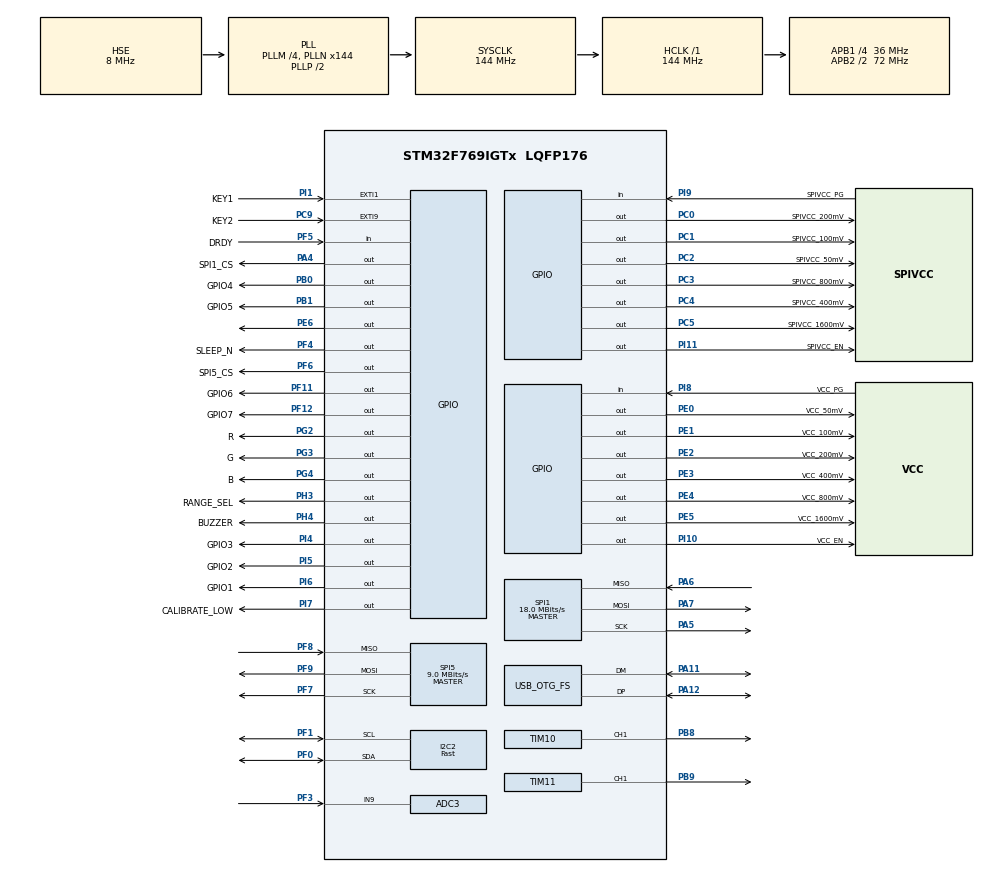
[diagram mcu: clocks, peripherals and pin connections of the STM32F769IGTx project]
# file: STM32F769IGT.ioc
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ADC3.Channel-0\#ChannelRegularConversion=ADC_CHANNEL_9
ADC3.ClockPrescaler=ADC_CLOCK_SYNC_PCLK_DIV2
ADC3.ContinuousConvMode=DISABLE
ADC3.DMAContinuousRequests=DISABLE
ADC3.DataAlign=ADC_DATAALIGN_RIGHT
ADC3.DiscontinuousConvMode=DISABLE
ADC3.EOCSelection=ADC_EOC_SINGLE_CONV
ADC3.EnableAnalogWatchDog=false
ADC3.ExternalTrigConv=ADC_SOFTWARE_START
ADC3.ExternalTrigConvEdge=ADC_EXTERNALTRIGCONVEDGE_NONE
ADC3.InjNumberOfConversion=0
ADC3.NbrOfConversion=1
ADC3.NbrOfConversionFlag=1
ADC3.Rank-0\#ChannelRegularConversion=1
ADC3.Resolution=ADC_RESOLUTION_12B
ADC3.SamplingTime-0\#ChannelRegularConversion=ADC_SAMPLETIME_3CYCLES
ADC3.ScanConvMode=DISABLE
I2C2.I2C_Speed_Mode=I2C_Fast
I2C2.Timing=0x00301739
Mcu.Family=STM32F7
Mcu.Name=STM32F769IGTx
Mcu.Package=LQFP176
NVIC.EXTI1_IRQn=true\:5\:0\:true\:false\:true\:true
NVIC.EXTI9_5_IRQn=true\:0\:0\:false\:false\:true\:true
NVIC.OTG_FS_IRQn=true\:0\:0\:false\:false\:true\:false
NVIC.PriorityGroup=NVIC_PRIORITYGROUP_4
PA11.Mode=Device_Only
PA11.Signal=USB_OTG_FS_DM
PA12.Mode=Device_Only
PA12.Signal=USB_OTG_FS_DP
PA13.Mode=Serial_Wire
PA13.Signal=SYS_JTMS-SWDIO
PA14.Mode=Serial_Wire
PA14.Signal=SYS_JTCK-SWCLK
PA4.GPIO_Label=SPI1_CS
PA4.GPIO_Speed=GPIO_SPEED_FREQ_VERY_HIGH
PA4.PinState=GPIO_PIN_SET
PA4.Signal=GPIO_Output
PA5.Mode=Full_Duplex_Master
PA5.Signal=SPI1_SCK
PA6.Mode=Full_Duplex_Master
PA6.Signal=SPI1_MISO
PA7.Mode=Full_Duplex_Master
PA7.Signal=SPI1_MOSI
PB0.GPIO_Label=GPIO4
PB0.Signal=GPIO_Output
PB1.GPIO_Label=GPIO5
PB1.Signal=GPIO_Output
PB8.GPIO_PuPd=GPIO_PULLDOWN
PB8.Signal=S_TIM10_CH1
PB9.GPIO_PuPd=GPIO_PULLDOWN
PB9.Signal=S_TIM11_CH1
PC0.GPIO_Label=SPIVCC_200mV
PC0.GPIO_ModeDefaultOutputPP=GPIO_MODE_OUTPUT_OD
PC0.GPIO_PuPd=GPIO_NOPULL
PC0.PinState=GPIO_PIN_SET
PC0.Signal=GPIO_Output
PC1.GPIO_Label=SPIVCC_100mV
PC1.GPIO_ModeDefaultOutputPP=GPIO_MODE_OUTPUT_OD
PC1.PinState=GPIO_PIN_SET
PC1.Signal=GPIO_Output
PC14/OSC32_IN.Mode=LSE-External-Oscillator
PC14/OSC32_IN.Signal=RCC_OSC32_IN
PC15/OSC32_OUT.Mode=LSE-External-Oscillator
PC15/OSC32_OUT.Signal=RCC_OSC32_OUT
PC2.GPIO_Label=SPIVCC_50mV
PC2.GPIO_ModeDefaultOutputPP=GPIO_MODE_OUTPUT_OD
PC2.PinState=GPIO_PIN_SET
PC2.Signal=GPIO_Output
PC3.GPIO_Label=SPIVCC_800mV
PC3.GPIO_ModeDefaultOutputPP=GPIO_MODE_OUTPUT_OD
PC3.PinState=GPIO_PIN_SET
PC3.Signal=GPIO_Output
PC4.GPIO_Label=SPIVCC_400mV
PC4.GPIO_ModeDefaultOutputPP=GPIO_MODE_OUTPUT_OD
PC4.PinState=GPIO_PIN_SET
PC4.Signal=GPIO_Output
PC5.GPIO_Label=SPIVCC_1600mV
PC5.GPIO_ModeDefaultOutputPP=GPIO_MODE_OUTPUT_OD
PC5.PinState=GPIO_PIN_SET
PC5.Signal=GPIO_Output
PC9.GPIO_Label=KEY2
PC9.GPIO_PuPd=GPIO_PULLUP
PC9.Signal=GPXTI9
PE0.GPIO_Label=VCC_50mV
PE0.GPIO_ModeDefaultOutputPP=GPIO_MODE_OUTPUT_OD
PE0.PinState=GPIO_PIN_SET
PE0.Signal=GPIO_Output
PE1.GPIO_Label=VCC_100mV
PE1.GPIO_ModeDefaultOutputPP=GPIO_MODE_OUTPUT_OD
PE1.PinState=GPIO_PIN_SET
PE1.Signal=GPIO_Output
PE2.GPIO_Label=VCC_200mV
PE2.GPIO_ModeDefaultOutputPP=GPIO_MODE_OUTPUT_OD
PE2.PinState=GPIO_PIN_SET
PE2.Signal=GPIO_Output
PE3.GPIO_Label=VCC_400mV
PE3.GPIO_ModeDefaultOutputPP=GPIO_MODE_OUTPUT_OD
PE3.PinState=GPIO_PIN_SET
PE3.Signal=GPIO_Output
PE4.GPIO_Label=VCC_800mV
PE4.GPIO_ModeDefaultOutputPP=GPIO_MODE_OUTPUT_OD
PE4.PinState=GPIO_PIN_SET
PE4.Signal=GPIO_Output
PE5.GPIO_Label=VCC_1600mV
PE5.GPIO_ModeDefaultOutputPP=GPIO_MODE_OUTPUT_OD
PE5.PinState=GPIO_PIN_SET
PE5.Signal=GPIO_Output
PE6.Signal=GPIO_Output
PF0.Mode=I2C
PF0.Signal=I2C2_SDA
PF1.Mode=I2C
PF1.Signal=I2C2_SCL
PF11.GPIO_Label=GPIO6
PF11.Signal=GPIO_Output
PF12.GPIO_Label=GPIO7
PF12.Signal=GPIO_Output
PF3.Mode=IN9
PF3.Signal=ADC3_IN9
PF4.GPIO_Label=SLEEP_N
PF4.Signal=GPIO_Output
PF5.GPIO_Label=DRDY
PF5.Signal=GPIO_Input
PF6.GPIO_Label=SPI5_CS
PF6.GPIO_Speed=GPIO_SPEED_FREQ_VERY_HIGH
PF6.PinState=GPIO_PIN_SET
PF6.Signal=GPIO_Output
PF7.Mode=Full_Duplex_Master
PF7.Signal=SPI5_SCK
PF8.GPIO_PuPd=GPIO_NOPULL
PF8.Mode=Full_Duplex_Master
PF8.Signal=SPI5_MISO
PF9.GPIO_PuPd=GPIO_NOPULL
PF9.Mode=Full_Duplex_Master
PF9.Signal=SPI5_MOSI
PG2.GPIO_Label=R
PG2.Signal=GPIO_Output
PG3.GPIO_Label=G
PG3.Signal=GPIO_Output
PG4.GPIO_Label=B
PG4.Signal=GPIO_Output
PH0/OSC_IN.Mode=HSE-External-Oscillator
PH0/OSC_IN.Signal=RCC_OSC_IN
PH1/OSC_OUT.Mode=HSE-External-Oscillator
PH1/OSC_OUT.Signal=RCC_OSC_OUT
PH3.GPIO_Label=RANGE_SEL
PH3.Signal=GPIO_Output
PH4.GPIO_Label=BUZZER
PH4.Signal=GPIO_Output
PI1.GPIO_Label=KEY1
PI1.GPIO_PuPd=GPIO_PULLUP
PI1.Signal=GPXTI1
PI10.GPIO_Label=VCC_EN
PI10.Signal=GPIO_Output
PI11.GPIO_Label=SPIVCC_EN
PI11.Signal=GPIO_Output
PI4.GPIO_Label=GPIO3
PI4.Signal=GPIO_Output
PI5.GPIO_Label=GPIO2
PI5.Signal=GPIO_Output
PI6.GPIO_Label=GPIO1
PI6.Signal=GPIO_Output
PI7.GPIO_Label=CALIBRATE_LOW
PI7.GPIO_PuPd=GPIO_PULLDOWN
PI7.Signal=GPIO_Output
PI8.GPIO_Label=VCC_PG
PI8.Signal=GPIO_Input
PI9.GPIO_Label=SPIVCC_PG
PI9.Signal=GPIO_Input
ProjectManager.HeapSize=0x30000
ProjectManager.StackSize=0x8000
ProjectManager.TargetToolchain=MDK-ARM V5
RCC.AHBFreq_Value=144000000
RCC.APB1CLKDivider=RCC_HCLK_DIV4
RCC.APB1Freq_Value=36000000
RCC.APB1TimFreq_Value=72000000
RCC.APB2CLKDivider=RCC_HCLK_DIV2
RCC.APB2Freq_Value=72000000
RCC.APB2TimFreq_Value=144000000
RCC.CortexFreq_Value=144000000
RCC.HCLKFreq_Value=144000000
RCC.HSE_VALUE=8000000
RCC.HSI_VALUE=16000000
RCC.PLLM=4
RCC.PLLN=144
RCC.PLLQ=6
RCC.SYSCLKFreq_VALUE=144000000
RCC.SYSCLKSource=RCC_SYSCLKSOURCE_PLLCLK
RCC.USBFreq_Value=48000000
RCC.VCOOutputFreq_Value=288000000
SH.S_TIM10_CH1.0=TIM10_CH1,PWM Generation1 CH1
SH.S_TIM11_CH1.0=TIM11_CH1,PWM Generation1 CH1
SPI1.BaudRatePrescaler=SPI_BAUDRATEPRESCALER_4
SPI1.CalculateBaudRate=18.0 MBits/s
SPI1.DataSize=SPI_DATASIZE_8BIT
SPI1.Direction=SPI_DIRECTION_2LINES
SPI1.Mode=SPI_MODE_MASTER
SPI1.NSSPMode=SPI_NSS_PULSE_DISABLE
SPI1.VirtualType=VM_MASTER
SPI5.BaudRatePrescaler=SPI_BAUDRATEPRESCALER_8
SPI5.CalculateBaudRate=9.0 MBits/s
SPI5.DataSize=SPI_DATASIZE_8BIT
SPI5.Direction=SPI_DIRECTION_2LINES
SPI5.Mode=SPI_MODE_MASTER
SPI5.NSSPMode=SPI_NSS_PULSE_DISABLE
SPI5.VirtualType=VM_MASTER
TIM10.AutoReloadPreload=TIM_AUTORELOAD_PRELOAD_ENABLE
TIM10.Channel=TIM_CHANNEL_1
TIM10.Period=4095
TIM10.Pulse=0
TIM11.AutoReloadPreload=TIM_AUTORELOAD_PRELOAD_ENABLE
TIM11.Channel=TIM_CHANNEL_1
TIM11.Period=4095
TIM11.Pulse=0
USB_DEVICE.CLASS_NAME_FS=CDC
USB_DEVICE.VirtualMode-CDC_FS=Cdc
USB_DEVICE.VirtualModeFS=Cdc_FS
USB_OTG_FS.VirtualMode=Device_Only
VP_TIM10_VS_ClockSourceINT.Mode=Enable_Timer
VP_TIM11_VS_ClockSourceINT.Mode=Enable_Timer
VP_USB_DEVICE_VS_USB_DEVICE_CDC_FS.Mode=CDC_FS
board=STM32F769IGT

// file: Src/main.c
/**
  ******************************************************************************
  * File Name          : main.c
  * Description        : Main program body
  ******************************************************************************
  * This notice applies to any and all portions of this file
  * that are not between comment pairs USER CODE BEGIN and
  * USER CODE END. Other portions of this file, whether
  * inserted by the user or by software development tools
  * are owned by their respective copyright owners.
  *
  * Copyright (c) 2017 STMicroelectronics International N.V.
  * All rights reserved.
  *
  * Redistribution and use in source and binary forms, with or without
  * modification, are permitted, provided that the following conditions are met:
  *
  * 1. Redistribution of source code must retain the above copyright notice,
  *    this list of conditions and the following disclaimer.
  * 2. Redistributions in binary form must reproduce the above copyright notice,
  *    this list of conditions and the following disclaimer in the documentation
  *    and/or other materials provided with the distribution.
  * 3. Neither the name of STMicroelectronics nor the names of other
  *    contributors to this software may be used to endorse or promote products
  *    derived from this software without specific written permission.
  * 4. This software, including modifications and/or derivative works of this
  *    software, must execute solely and exclusively on microcontroller or
  *    microprocessor devices manufactured by or for STMicroelectronics.
  * 5. Redistribution and use of this software other than as permitted under
  *    this license is void and will automatically terminate your rights under
  *    this license.
  *
  * THIS SOFTWARE IS PROVIDED BY STMICROELECTRONICS AND CONTRIBUTORS "AS IS"
  * AND ANY EXPRESS, IMPLIED OR STATUTORY WARRANTIES, INCLUDING, BUT NOT
  * LIMITED TO, THE IMPLIED WARRANTIES OF MERCHANTABILITY, FITNESS FOR A
  * PARTICULAR PURPOSE AND NON-INFRINGEMENT OF THIRD PARTY INTELLECTUAL PROPERTY
  * RIGHTS ARE DISCLAIMED TO THE FULLEST EXTENT PERMITTED BY LAW. IN NO EVENT
  * SHALL STMICROELECTRONICS OR CONTRIBUTORS BE LIABLE FOR ANY DIRECT, INDIRECT,
  * INCIDENTAL, SPECIAL, EXEMPLARY, OR CONSEQUENTIAL DAMAGES (INCLUDING, BUT NOT
  * LIMITED TO, PROCUREMENT OF SUBSTITUTE GOODS OR SERVICES; LOSS OF USE, DATA,
  * OR PROFITS; OR BUSINESS INTERRUPTION) HOWEVER CAUSED AND ON ANY THEORY OF
  * LIABILITY, WHETHER IN CONTRACT, STRICT LIABILITY, OR TORT (INCLUDING
  * NEGLIGENCE OR OTHERWISE) ARISING IN ANY WAY OUT OF THE USE OF THIS SOFTWARE,
  * EVEN IF ADVISED OF THE POSSIBILITY OF SUCH DAMAGE.
  *
  ******************************************************************************
  */

#include "main.h"
#include "stm32f7xx_hal.h"
#include "usb_device.h"

/* USER CODE BEGIN Includes */
//#pragma pack(8)
#include "peripheral_devices.h"
#include "fp_module.h"
#include "vcp_comm_interface.h"
/* USER CODE END Includes */

ADC_HandleTypeDef hadc3;

I2C_HandleTypeDef hi2c2;

SPI_HandleTypeDef hspi1;
SPI_HandleTypeDef hspi5;

TIM_HandleTypeDef htim10;
TIM_HandleTypeDef htim11;

/* USER CODE BEGIN PV */
/* Private variables ---------------------------------------------------------*/

extern Timer_Led_t led_W;
extern Timer_Led_t led_IR;

uint8_t UserTxBuffer[] = "---K1 button clicked--- \n";

/* USER CODE END PV */

void SystemClock_Config(void);
static void MX_GPIO_Init(void);
static void MX_ADC3_Init(void);
static void MX_I2C2_Init(void);
static void MX_TIM10_Init(void);
static void MX_TIM11_Init(void);
static void MX_SPI1_Init(void);
static void MX_SPI5_Init(void);

void HAL_TIM_MspPostInit(TIM_HandleTypeDef *htim);

/* USER CODE BEGIN PFP */
/* Private function prototypes -----------------------------------------------*/

//extern uint8_t CDC_Transmit_FS(uint8_t* Buf, uint16_t Len);
/* USER CODE END PFP */

int main(void)
{

  /* MCU Configuration----------------------------------------------------------*/

  /* Reset of all peripherals, Initializes the Flash interface and the Systick. */
  HAL_Init();

  /* Configure the system clock */
  SystemClock_Config();

  /* Initialize all configured peripherals */
  MX_GPIO_Init();
  MX_ADC3_Init();
  MX_USB_DEVICE_Init();
  MX_I2C2_Init();
  MX_TIM10_Init();
  MX_TIM11_Init();
  MX_SPI1_Init();
  MX_SPI5_Init();

  /* USER CODE BEGIN 2 */
	// BEEP
	HAL_GPIO_WritePin(BUZZER_GPIO_Port, BUZZER_Pin, GPIO_PIN_SET);
	HAL_Delay(100);
	HAL_GPIO_WritePin(BUZZER_GPIO_Port, BUZZER_Pin, GPIO_PIN_RESET);

	// RGB LED
	HAL_GPIO_WritePin( B_GPIO_Port, B_Pin, GPIO_PIN_SET);
	HAL_Delay( 200 );
	HAL_GPIO_WritePin( B_GPIO_Port, B_Pin, GPIO_PIN_RESET);

	HAL_GPIO_WritePin( R_GPIO_Port, R_Pin, GPIO_PIN_SET);
	HAL_Delay( 200 );
	HAL_GPIO_WritePin( R_GPIO_Port, R_Pin, GPIO_PIN_RESET);

	HAL_GPIO_WritePin( G_GPIO_Port, G_Pin, GPIO_PIN_SET);
	//HAL_Delay( 200 );
	//HAL_GPIO_WritePin( G_GPIO_Port, G_Pin, GPIO_PIN_RESET);

	if( FpPowerOn( SENSOR_VCC_3V30, SPIVCC_1V80, 2000) )
	{
		HAL_GPIO_WritePin(BUZZER_GPIO_Port, BUZZER_Pin, GPIO_PIN_SET);
		HAL_Delay(5000);
		HAL_GPIO_WritePin(BUZZER_GPIO_Port, BUZZER_Pin, GPIO_PIN_RESET);

		HAL_GPIO_WritePin( G_GPIO_Port, G_Pin, GPIO_PIN_RESET);
		HAL_GPIO_WritePin( B_GPIO_Port, B_Pin, GPIO_PIN_SET);
	}
	HAL_Delay(500);

//	FpGetVersion((uint8_t*)&version, sizeof(vcsfw_reply_get_version_t), 200);

  /* USER CODE END 2 */

  /* Infinite loop */
  /* USER CODE BEGIN WHILE */

  while (1)
  {
//		VCP_CMD_process( );
//		HAL_Delay(5);
	}
  /* USER CODE END WHILE */

}

/** System Clock Configuration
*/
void SystemClock_Config(void)
{

  RCC_OscInitTypeDef RCC_OscInitStruct;
  RCC_ClkInitTypeDef RCC_ClkInitStruct;
  RCC_PeriphCLKInitTypeDef PeriphClkInitStruct;

    /**Configure the main internal regulator output voltage
    */
  __HAL_RCC_PWR_CLK_ENABLE();

  __HAL_PWR_VOLTAGESCALING_CONFIG(PWR_REGULATOR_VOLTAGE_SCALE3);

    /**Initializes the CPU, AHB and APB busses clocks
    */
  RCC_OscInitStruct.OscillatorType = RCC_OSCILLATORTYPE_HSE;
  RCC_OscInitStruct.HSEState = RCC_HSE_ON;
  RCC_OscInitStruct.PLL.PLLState = RCC_PLL_ON;
  RCC_OscInitStruct.PLL.PLLSource = RCC_PLLSOURCE_HSE;
  RCC_OscInitStruct.PLL.PLLM = 4;
  RCC_OscInitStruct.PLL.PLLN = 144;
  RCC_OscInitStruct.PLL.PLLP = RCC_PLLP_DIV2;
  RCC_OscInitStruct.PLL.PLLQ = 6;
  if (HAL_RCC_OscConfig(&RCC_OscInitStruct) != HAL_OK)
  {
    _Error_Handler(__FILE__, __LINE__);
  }

    /**Initializes the CPU, AHB and APB busses clocks
    */
  RCC_ClkInitStruct.ClockType = RCC_CLOCKTYPE_HCLK|RCC_CLOCKTYPE_SYSCLK
                              |RCC_CLOCKTYPE_PCLK1|RCC_CLOCKTYPE_PCLK2;
  RCC_ClkInitStruct.SYSCLKSource = RCC_SYSCLKSOURCE_PLLCLK;
  RCC_ClkInitStruct.AHBCLKDivider = RCC_SYSCLK_DIV1;
  RCC_ClkInitStruct.APB1CLKDivider = RCC_HCLK_DIV4;
  RCC_ClkInitStruct.APB2CLKDivider = RCC_HCLK_DIV2;

  if (HAL_RCC_ClockConfig(&RCC_ClkInitStruct, FLASH_LATENCY_4) != HAL_OK)
  {
    _Error_Handler(__FILE__, __LINE__);
  }

  PeriphClkInitStruct.PeriphClockSelection = RCC_PERIPHCLK_I2C2|RCC_PERIPHCLK_CLK48;
  PeriphClkInitStruct.I2c2ClockSelection = RCC_I2C2CLKSOURCE_PCLK1;
  PeriphClkInitStruct.Clk48ClockSelection = RCC_CLK48SOURCE_PLL;
  if (HAL_RCCEx_PeriphCLKConfig(&PeriphClkInitStruct) != HAL_OK)
  {
    _Error_Handler(__FILE__, __LINE__);
  }

    /**Configure the Systick interrupt time
    */
  HAL_SYSTICK_Config(HAL_RCC_GetHCLKFreq()/1000);

    /**Configure the Systick
    */
  HAL_SYSTICK_CLKSourceConfig(SYSTICK_CLKSOURCE_HCLK);

  /* SysTick_IRQn interrupt configuration */
  HAL_NVIC_SetPriority(SysTick_IRQn, 0, 0);
}

/* ADC3 init function */
static void MX_ADC3_Init(void)
{

  ADC_ChannelConfTypeDef sConfig;

    /**Configure the global features of the ADC (Clock, Resolution, Data Alignment and number of conversion)
    */
  hadc3.Instance = ADC3;
  hadc3.Init.ClockPrescaler = ADC_CLOCK_SYNC_PCLK_DIV2;
  hadc3.Init.Resolution = ADC_RESOLUTION_12B;
  hadc3.Init.ScanConvMode = DISABLE;
  hadc3.Init.ContinuousConvMode = DISABLE;
  hadc3.Init.DiscontinuousConvMode = DISABLE;
  hadc3.Init.ExternalTrigConvEdge = ADC_EXTERNALTRIGCONVEDGE_NONE;
  hadc3.Init.ExternalTrigConv = ADC_SOFTWARE_START;
  hadc3.Init.DataAlign = ADC_DATAALIGN_RIGHT;
  hadc3.Init.NbrOfConversion = 1;
  hadc3.Init.DMAContinuousRequests = DISABLE;
  hadc3.Init.EOCSelection = ADC_EOC_SINGLE_CONV;
  if (HAL_ADC_Init(&hadc3) != HAL_OK)
  {
    _Error_Handler(__FILE__, __LINE__);
  }

    /**Configure for the selected ADC regular channel its corresponding rank in the sequencer and its sample time.
    */
  sConfig.Channel = ADC_CHANNEL_9;
  sConfig.Rank = 1;
  sConfig.SamplingTime = ADC_SAMPLETIME_3CYCLES;
  if (HAL_ADC_ConfigChannel(&hadc3, &sConfig) != HAL_OK)
  {
    _Error_Handler(__FILE__, __LINE__);
  }

}

/* I2C2 init function */
static void MX_I2C2_Init(void)
{

  hi2c2.Instance = I2C2;
  hi2c2.Init.Timing = 0x00301739;
  hi2c2.Init.OwnAddress1 = 0;
  hi2c2.Init.AddressingMode = I2C_ADDRESSINGMODE_7BIT;
  hi2c2.Init.DualAddressMode = I2C_DUALADDRESS_DISABLE;
  hi2c2.Init.OwnAddress2 = 0;
  hi2c2.Init.OwnAddress2Masks = I2C_OA2_NOMASK;
  hi2c2.Init.GeneralCallMode = I2C_GENERALCALL_DISABLE;
  hi2c2.Init.NoStretchMode = I2C_NOSTRETCH_DISABLE;
  if (HAL_I2C_Init(&hi2c2) != HAL_OK)
  {
    _Error_Handler(__FILE__, __LINE__);
  }

    /**Configure Analogue filter
    */
  if (HAL_I2CEx_ConfigAnalogFilter(&hi2c2, I2C_ANALOGFILTER_ENABLE) != HAL_OK)
  {
    _Error_Handler(__FILE__, __LINE__);
  }

    /**Configure Digital filter
    */
  if (HAL_I2CEx_ConfigDigitalFilter(&hi2c2, 0) != HAL_OK)
  {
    _Error_Handler(__FILE__, __LINE__);
  }

}

/* SPI1 init function */
static void MX_SPI1_Init(void)
{

  /* SPI1 parameter configuration*/
  hspi1.Instance = SPI1;
  hspi1.Init.Mode = SPI_MODE_MASTER;
  hspi1.Init.Direction = SPI_DIRECTION_2LINES;
  hspi1.Init.DataSize = SPI_DATASIZE_8BIT;
  hspi1.Init.CLKPolarity = SPI_POLARITY_LOW;
  hspi1.Init.CLKPhase = SPI_PHASE_1EDGE;
  hspi1.Init.NSS = SPI_NSS_SOFT;
  hspi1.Init.BaudRatePrescaler = SPI_BAUDRATEPRESCALER_4;
  hspi1.Init.FirstBit = SPI_FIRSTBIT_MSB;
  hspi1.Init.TIMode = SPI_TIMODE_DISABLE;
  hspi1.Init.CRCCalculation = SPI_CRCCALCULATION_DISABLE;
  hspi1.Init.CRCPolynomial = 7;
  hspi1.Init.CRCLength = SPI_CRC_LENGTH_DATASIZE;
  hspi1.Init.NSSPMode = SPI_NSS_PULSE_DISABLE;
  if (HAL_SPI_Init(&hspi1) != HAL_OK)
  {
    _Error_Handler(__FILE__, __LINE__);
  }

}

/* SPI5 init function */
static void MX_SPI5_Init(void)
{

  /* SPI5 parameter configuration*/
  hspi5.Instance = SPI5;
  hspi5.Init.Mode = SPI_MODE_MASTER;
  hspi5.Init.Direction = SPI_DIRECTION_2LINES;
  hspi5.Init.DataSize = SPI_DATASIZE_8BIT;
  hspi5.Init.CLKPolarity = SPI_POLARITY_LOW;
  hspi5.Init.CLKPhase = SPI_PHASE_1EDGE;
  hspi5.Init.NSS = SPI_NSS_SOFT;
  hspi5.Init.BaudRatePrescaler = SPI_BAUDRATEPRESCALER_8;
  hspi5.Init.FirstBit = SPI_FIRSTBIT_MSB;
  hspi5.Init.TIMode = SPI_TIMODE_DISABLE;
  hspi5.Init.CRCCalculation = SPI_CRCCALCULATION_DISABLE;
  hspi5.Init.CRCPolynomial = 7;
  hspi5.Init.CRCLength = SPI_CRC_LENGTH_DATASIZE;
  hspi5.Init.NSSPMode = SPI_NSS_PULSE_DISABLE;
  if (HAL_SPI_Init(&hspi5) != HAL_OK)
  {
    _Error_Handler(__FILE__, __LINE__);
  }

}

/* TIM10 init function */
static void MX_TIM10_Init(void)
{

  TIM_OC_InitTypeDef sConfigOC;

  htim10.Instance = TIM10;
  htim10.Init.Prescaler = 0;
  htim10.Init.CounterMode = TIM_COUNTERMODE_UP;
  htim10.Init.Period = 4095;
  htim10.Init.ClockDivision = TIM_CLOCKDIVISION_DIV1;
  htim10.Init.AutoReloadPreload = TIM_AUTORELOAD_PRELOAD_ENABLE;
  if (HAL_TIM_Base_Init(&htim10) != HAL_OK)
  {
    _Error_Handler(__FILE__, __LINE__);
  }

  if (HAL_TIM_PWM_Init(&htim10) != HAL_OK)
  {
    _Error_Handler(__FILE__, __LINE__);
  }

  sConfigOC.OCMode = TIM_OCMODE_PWM1;
  sConfigOC.Pulse = 0;
  sConfigOC.OCPolarity = TIM_OCPOLARITY_HIGH;
  sConfigOC.OCFastMode = TIM_OCFAST_DISABLE;
  if (HAL_TIM_PWM_ConfigChannel(&htim10, &sConfigOC, TIM_CHANNEL_1) != HAL_OK)
  {
    _Error_Handler(__FILE__, __LINE__);
  }

  HAL_TIM_MspPostInit(&htim10);

}

/* TIM11 init function */
static void MX_TIM11_Init(void)
{

  TIM_OC_InitTypeDef sConfigOC;

  htim11.Instance = TIM11;
  htim11.Init.Prescaler = 0;
  htim11.Init.CounterMode = TIM_COUNTERMODE_UP;
  htim11.Init.Period = 4095;
  htim11.Init.ClockDivision = TIM_CLOCKDIVISION_DIV1;
  htim11.Init.AutoReloadPreload = TIM_AUTORELOAD_PRELOAD_ENABLE;
  if (HAL_TIM_Base_Init(&htim11) != HAL_OK)
  {
    _Error_Handler(__FILE__, __LINE__);
  }

  if (HAL_TIM_PWM_Init(&htim11) != HAL_OK)
  {
    _Error_Handler(__FILE__, __LINE__);
  }

  sConfigOC.OCMode = TIM_OCMODE_PWM1;
  sConfigOC.Pulse = 0;
  sConfigOC.OCPolarity = TIM_OCPOLARITY_HIGH;
  sConfigOC.OCFastMode = TIM_OCFAST_DISABLE;
  if (HAL_TIM_PWM_ConfigChannel(&htim11, &sConfigOC, TIM_CHANNEL_1) != HAL_OK)
  {
    _Error_Handler(__FILE__, __LINE__);
  }

  HAL_TIM_MspPostInit(&htim11);

}

/** Configure pins as
        * Analog
        * Input
        * Output
        * EVENT_OUT
        * EXTI
*/
static void MX_GPIO_Init(void)
{

  GPIO_InitTypeDef GPIO_InitStruct;

  /* GPIO Ports Clock Enable */
  __HAL_RCC_GPIOE_CLK_ENABLE();
  __HAL_RCC_GPIOI_CLK_ENABLE();
  __HAL_RCC_GPIOC_CLK_ENABLE();
  __HAL_RCC_GPIOF_CLK_ENABLE();
  __HAL_RCC_GPIOH_CLK_ENABLE();
  __HAL_RCC_GPIOA_CLK_ENABLE();
  __HAL_RCC_GPIOB_CLK_ENABLE();
  __HAL_RCC_GPIOG_CLK_ENABLE();

  /*Configure GPIO pin Output Level */
  HAL_GPIO_WritePin(GPIOE, VCC_200mV_Pin|VCC_400mV_Pin|VCC_800mV_Pin|VCC_1600mV_Pin
                          |VCC_50mV_Pin|VCC_100mV_Pin, GPIO_PIN_SET);

  /*Configure GPIO pin Output Level */
  HAL_GPIO_WritePin(GPIOE, GPIO_PIN_6, GPIO_PIN_RESET);

  /*Configure GPIO pin Output Level */
  HAL_GPIO_WritePin(GPIOI, VCC_EN_Pin|SPIVCC_EN_Pin|GPIO3_Pin|GPIO2_Pin
                          |GPIO1_Pin|CALIBRATE_LOW_Pin, GPIO_PIN_RESET);

  /*Configure GPIO pin Output Level */
  HAL_GPIO_WritePin(GPIOF, SLEEP_N_Pin|GPIO6_Pin|GPIO7_Pin, GPIO_PIN_RESET);

  /*Configure GPIO pin Output Level */
  HAL_GPIO_WritePin(SPI5_CS_GPIO_Port, SPI5_CS_Pin, GPIO_PIN_SET);

  /*Configure GPIO pin Output Level */
  HAL_GPIO_WritePin(GPIOC, SPIVCC_200mV_Pin|SPIVCC_100mV_Pin|SPIVCC_50mV_Pin|SPIVCC_800mV_Pin
                          |SPIVCC_400mV_Pin|SPIVCC_1600mV_Pin, GPIO_PIN_SET);

  /*Configure GPIO pin Output Level */
  HAL_GPIO_WritePin(GPIOH, RANGE_SEL_Pin|BUZZER_Pin, GPIO_PIN_RESET);

  /*Configure GPIO pin Output Level */
  HAL_GPIO_WritePin(SPI1_CS_GPIO_Port, SPI1_CS_Pin, GPIO_PIN_SET);

  /*Configure GPIO pin Output Level */
  HAL_GPIO_WritePin(GPIOB, GPIO4_Pin|GPIO5_Pin, GPIO_PIN_RESET);

  /*Configure GPIO pin Output Level */
  HAL_GPIO_WritePin(GPIOG, R_Pin|G_Pin|B_Pin, GPIO_PIN_RESET);

  /*Configure GPIO pins : VCC_200mV_Pin VCC_400mV_Pin VCC_800mV_Pin VCC_1600mV_Pin
                           VCC_50mV_Pin VCC_100mV_Pin */
  GPIO_InitStruct.Pin = VCC_200mV_Pin|VCC_400mV_Pin|VCC_800mV_Pin|VCC_1600mV_Pin
                          |VCC_50mV_Pin|VCC_100mV_Pin;
  GPIO_InitStruct.Mode = GPIO_MODE_OUTPUT_OD;
  GPIO_InitStruct.Pull = GPIO_NOPULL;
  GPIO_InitStruct.Speed = GPIO_SPEED_FREQ_LOW;
  HAL_GPIO_Init(GPIOE, &GPIO_InitStruct);

  /*Configure GPIO pin : PE6 */
  GPIO_InitStruct.Pin = GPIO_PIN_6;
  GPIO_InitStruct.Mode = GPIO_MODE_OUTPUT_PP;
  GPIO_InitStruct.Pull = GPIO_NOPULL;
  GPIO_InitStruct.Speed = GPIO_SPEED_FREQ_LOW;
  HAL_GPIO_Init(GPIOE, &GPIO_InitStruct);

  /*Configure GPIO pins : VCC_PG_Pin SPIVCC_PG_Pin */
  GPIO_InitStruct.Pin = VCC_PG_Pin|SPIVCC_PG_Pin;
  GPIO_InitStruct.Mode = GPIO_MODE_INPUT;
  GPIO_InitStruct.Pull = GPIO_NOPULL;
  HAL_GPIO_Init(GPIOI, &GPIO_InitStruct);

  /*Configure GPIO pins : VCC_EN_Pin SPIVCC_EN_Pin GPIO3_Pin GPIO2_Pin
                           GPIO1_Pin */
  GPIO_InitStruct.Pin = VCC_EN_Pin|SPIVCC_EN_Pin|GPIO3_Pin|GPIO2_Pin
                          |GPIO1_Pin;
  GPIO_InitStruct.Mode = GPIO_MODE_OUTPUT_PP;
  GPIO_InitStruct.Pull = GPIO_NOPULL;
  GPIO_InitStruct.Speed = GPIO_SPEED_FREQ_LOW;
  HAL_GPIO_Init(GPIOI, &GPIO_InitStruct);

  /*Configure GPIO pins : SLEEP_N_Pin GPIO6_Pin GPIO7_Pin */
  GPIO_InitStruct.Pin = SLEEP_N_Pin|GPIO6_Pin|GPIO7_Pin;
  GPIO_InitStruct.Mode = GPIO_MODE_OUTPUT_PP;
  GPIO_InitStruct.Pull = GPIO_NOPULL;
  GPIO_InitStruct.Speed = GPIO_SPEED_FREQ_LOW;
  HAL_GPIO_Init(GPIOF, &GPIO_InitStruct);

  /*Configure GPIO pin : DRDY_Pin */
  GPIO_InitStruct.Pin = DRDY_Pin;
  GPIO_InitStruct.Mode = GPIO_MODE_INPUT;
  GPIO_InitStruct.Pull = GPIO_NOPULL;
  HAL_GPIO_Init(DRDY_GPIO_Port, &GPIO_InitStruct);

  /*Configure GPIO pin : SPI5_CS_Pin */
  GPIO_InitStruct.Pin = SPI5_CS_Pin;
  GPIO_InitStruct.Mode = GPIO_MODE_OUTPUT_PP;
  GPIO_InitStruct.Pull = GPIO_NOPULL;
  GPIO_InitStruct.Speed = GPIO_SPEED_FREQ_VERY_HIGH;
  HAL_GPIO_Init(SPI5_CS_GPIO_Port, &GPIO_InitStruct);

  /*Configure GPIO pins : SPIVCC_200mV_Pin SPIVCC_100mV_Pin SPIVCC_50mV_Pin SPIVCC_800mV_Pin
                           SPIVCC_400mV_Pin SPIVCC_1600mV_Pin */
  GPIO_InitStruct.Pin = SPIVCC_200mV_Pin|SPIVCC_100mV_Pin|SPIVCC_50mV_Pin|SPIVCC_800mV_Pin
                          |SPIVCC_400mV_Pin|SPIVCC_1600mV_Pin;
  GPIO_InitStruct.Mode = GPIO_MODE_OUTPUT_OD;
  GPIO_InitStruct.Pull = GPIO_NOPULL;
  GPIO_InitStruct.Speed = GPIO_SPEED_FREQ_LOW;
  HAL_GPIO_Init(GPIOC, &GPIO_InitStruct);

  /*Configure GPIO pins : RANGE_SEL_Pin BUZZER_Pin */
  GPIO_InitStruct.Pin = RANGE_SEL_Pin|BUZZER_Pin;
  GPIO_InitStruct.Mode = GPIO_MODE_OUTPUT_PP;
  GPIO_InitStruct.Pull = GPIO_NOPULL;
  GPIO_InitStruct.Speed = GPIO_SPEED_FREQ_LOW;
  HAL_GPIO_Init(GPIOH, &GPIO_InitStruct);

  /*Configure GPIO pin : SPI1_CS_Pin */
  GPIO_InitStruct.Pin = SPI1_CS_Pin;
  GPIO_InitStruct.Mode = GPIO_MODE_OUTPUT_PP;
  GPIO_InitStruct.Pull = GPIO_NOPULL;
  GPIO_InitStruct.Speed = GPIO_SPEED_FREQ_VERY_HIGH;
  HAL_GPIO_Init(SPI1_CS_GPIO_Port, &GPIO_InitStruct);

  /*Configure GPIO pins : GPIO4_Pin GPIO5_Pin */
  GPIO_InitStruct.Pin = GPIO4_Pin|GPIO5_Pin;
  GPIO_InitStruct.Mode = GPIO_MODE_OUTPUT_PP;
  GPIO_InitStruct.Pull = GPIO_NOPULL;
  GPIO_InitStruct.Speed = GPIO_SPEED_FREQ_LOW;
  HAL_GPIO_Init(GPIOB, &GPIO_InitStruct);

  /*Configure GPIO pins : R_Pin G_Pin B_Pin */
  GPIO_InitStruct.Pin = R_Pin|G_Pin|B_Pin;
  GPIO_InitStruct.Mode = GPIO_MODE_OUTPUT_PP;
  GPIO_InitStruct.Pull = GPIO_NOPULL;
  GPIO_InitStruct.Speed = GPIO_SPEED_FREQ_LOW;
  HAL_GPIO_Init(GPIOG, &GPIO_InitStruct);

  /*Configure GPIO pin : KEY2_Pin */
  GPIO_InitStruct.Pin = KEY2_Pin;
  GPIO_InitStruct.Mode = GPIO_MODE_IT_RISING;
  GPIO_InitStruct.Pull = GPIO_PULLUP;
  HAL_GPIO_Init(KEY2_GPIO_Port, &GPIO_InitStruct);

  /*Configure GPIO pin : KEY1_Pin */
  GPIO_InitStruct.Pin = KEY1_Pin;
  GPIO_InitStruct.Mode = GPIO_MODE_IT_RISING;
  GPIO_InitStruct.Pull = GPIO_PULLUP;
  HAL_GPIO_Init(KEY1_GPIO_Port, &GPIO_InitStruct);

  /*Configure GPIO pin : CALIBRATE_LOW_Pin */
  GPIO_InitStruct.Pin = CALIBRATE_LOW_Pin;
  GPIO_InitStruct.Mode = GPIO_MODE_OUTPUT_PP;
  GPIO_InitStruct.Pull = GPIO_PULLDOWN;
  GPIO_InitStruct.Speed = GPIO_SPEED_FREQ_LOW;
  HAL_GPIO_Init(CALIBRATE_LOW_GPIO_Port, &GPIO_InitStruct);

  /* EXTI interrupt init*/
  HAL_NVIC_SetPriority(EXTI1_IRQn, 5, 0);
  HAL_NVIC_EnableIRQ(EXTI1_IRQn);

  HAL_NVIC_SetPriority(EXTI9_5_IRQn, 0, 0);
  HAL_NVIC_EnableIRQ(EXTI9_5_IRQn);

}

/* USER CODE BEGIN 4 */

/**
  * @brief EXTI line detection callbacks
  * @param GPIO_Pin: Specifies the pins connected EXTI line
  * @retval None
  */
void HAL_GPIO_EXTI_Callback(uint16_t GPIO_Pin)
{
  if(GPIO_Pin == GPIO_PIN_1)
  {
    /* Switch LED White */
		if(led_W.tim_isStarted != 0)
		{
			vTurnOffLed(&led_W);
		}
    else
		{
			vTurnOnLed(&led_W, 0x0fff);
		}
//		CDC_Transmit_FS( UserTxBuffer,  sizeof(UserTxBuffer) );
  }
	else if(GPIO_Pin == GPIO_PIN_9)
  {
    /* Switch LED IR */
		if(led_IR.tim_isStarted != 0)
		{
			vTurnOffLed(&led_IR);
		}
    else
		{
			vTurnOnLed(&led_IR, 0x0fff);
		}
//		CDC_Transmit_FS( UserTxBuffer,  sizeof(UserTxBuffer) );
  }
	return;
}

// poweron SPIVCC with the voltage defined in head file macro
// Return value: 0 is success, 2 is failure

/* USER CODE END 4 */

void _Error_Handler(char * file, int line)
{
  while(1)
  {
  }
}

/************************ (C) COPYRIGHT STMicroelectronics *****END OF FILE****/
